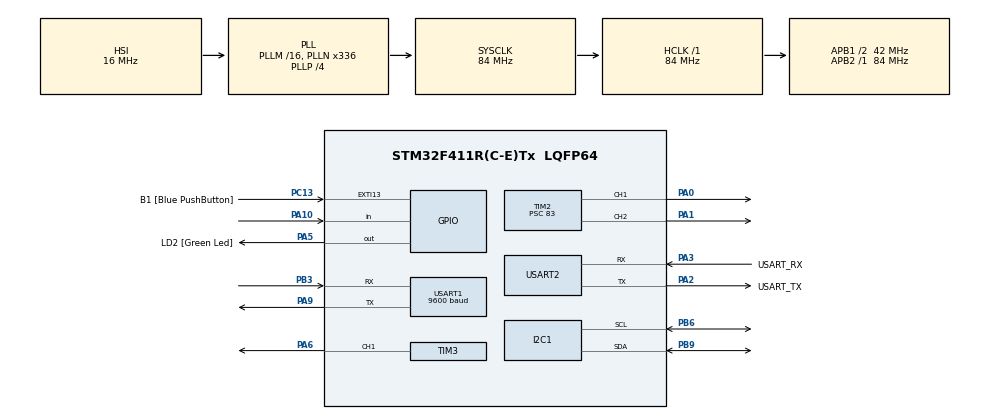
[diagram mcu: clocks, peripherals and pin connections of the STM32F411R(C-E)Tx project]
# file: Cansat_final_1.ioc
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FREERTOS.Tasks01=defaultTask,0,128,StartDefaultTask,Default,NULL,Dynamic,NULL,NULL
FREERTOS.configUSE_NEWLIB_REENTRANT=1
Mcu.Family=STM32F4
Mcu.Name=STM32F411R(C-E)Tx
Mcu.Package=LQFP64
NVIC.EXTI15_10_IRQn=true\:5\:0\:false\:false\:true\:true\:true\:true\:true
NVIC.I2C1_ER_IRQn=true\:5\:0\:false\:false\:true\:true\:true\:true\:true
NVIC.I2C1_EV_IRQn=true\:5\:0\:false\:false\:true\:true\:true\:true\:true
NVIC.PriorityGroup=NVIC_PRIORITYGROUP_4
NVIC.TIM1_UP_TIM10_IRQn=true\:15\:0\:false\:false\:true\:false\:false\:true\:true
NVIC.TimeBase=TIM1_UP_TIM10_IRQn
NVIC.TimeBaseIP=TIM1
NVIC.USART1_IRQn=true\:5\:0\:true\:false\:true\:true\:true\:true\:true
PA0-WKUP.Signal=S_TIM2_CH1_ETR
PA1.Signal=S_TIM2_CH2
PA10.Signal=GPIO_Input
PA13.GPIO_Label=TMS
PA13.Mode=Serial_Wire
PA13.Signal=SYS_JTMS-SWDIO
PA14.GPIO_Label=TCK
PA14.Mode=Serial_Wire
PA14.Signal=SYS_JTCK-SWCLK
PA2.GPIO_Label=USART_TX
PA2.Mode=Asynchronous
PA2.Signal=USART2_TX
PA3.GPIO_Label=USART_RX
PA3.Mode=Asynchronous
PA3.Signal=USART2_RX
PA5.GPIO_Label=LD2 [Green Led]
PA5.Signal=GPIO_Output
PA6.Signal=S_TIM3_CH1
PA9.Mode=Asynchronous
PA9.Signal=USART1_TX
PB3.Mode=Asynchronous
PB3.Signal=USART1_RX
PB6.Mode=I2C
PB6.Signal=I2C1_SCL
PB9.Mode=I2C
PB9.Signal=I2C1_SDA
PC13-ANTI_TAMP.GPIO_Label=B1 [Blue PushButton]
PC13-ANTI_TAMP.GPIO_ModeDefaultEXTI=GPIO_MODE_IT_FALLING
PC13-ANTI_TAMP.Signal=GPXTI13
PC14-OSC32_IN.Mode=LSE-External-Oscillator
PC14-OSC32_IN.Signal=RCC_OSC32_IN
PC15-OSC32_OUT.Mode=LSE-External-Oscillator
PC15-OSC32_OUT.Signal=RCC_OSC32_OUT
PH0\ -\ OSC_IN.Mode=HSE-External-Clock-Source
PH0\ -\ OSC_IN.Signal=RCC_OSC_IN
PH1\ -\ OSC_OUT.Mode=HSE-External-Clock-Source
PH1\ -\ OSC_OUT.Signal=RCC_OSC_OUT
ProjectManager.HeapSize=0x200
ProjectManager.StackSize=0x400
ProjectManager.TargetToolchain=STM32CubeIDE
RCC.48MHZClocksFreq_Value=84000000
RCC.AHBFreq_Value=84000000
RCC.APB1CLKDivider=RCC_HCLK_DIV2
RCC.APB1Freq_Value=42000000
RCC.APB1TimFreq_Value=84000000
RCC.APB2Freq_Value=84000000
RCC.APB2TimFreq_Value=84000000
RCC.CortexFreq_Value=84000000
RCC.FLatency-AdvancedSettings=FLASH_LATENCY_2
RCC.HCLKFreq_Value=84000000
RCC.HSE_VALUE=8000000
RCC.HSI_VALUE=16000000
RCC.PLLN=336
RCC.PLLP=RCC_PLLP_DIV4
RCC.SYSCLKFreq_VALUE=84000000
RCC.SYSCLKSource=RCC_SYSCLKSOURCE_PLLCLK
RCC.VCOOutputFreq_Value=336000000
SH.S_TIM2_CH1_ETR.0=TIM2_CH1,PWM Generation1 CH1
SH.S_TIM2_CH2.0=TIM2_CH2,PWM Generation2 CH2
SH.S_TIM3_CH1.0=TIM3_CH1,PWM Generation1 CH1
TIM2.Channel-PWM\ Generation1\ CH1=TIM_CHANNEL_1
TIM2.Channel-PWM\ Generation2\ CH2=TIM_CHANNEL_2
TIM2.Period=19999
TIM2.Prescaler=83
TIM3.Channel-PWM\ Generation1\ CH1=TIM_CHANNEL_1
TIM3.Period=19999
TIM3.Prescaler=83
USART1.BaudRate=9600
USART1.VirtualMode=VM_ASYNC
USART2.VirtualMode=VM_ASYNC
VP_FREERTOS_VS_CMSIS_V1.Mode=CMSIS_V1
VP_SYS_VS_tim1.Mode=TIM1
board=NUCLEO-F411RE

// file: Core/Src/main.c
/* USER CODE BEGIN Header */
/**
  ******************************************************************************
  * @file           : main.c
  * @brief          : Main program body
  ******************************************************************************
  * @attention
  *
  * Copyright (c) 2023 STMicroelectronics.
  * All rights reserved.
  *
  * This software is licensed under terms that can be found in the LICENSE file
  * in the root directory of this software component.
  * If no LICENSE file comes with this software, it is provided AS-IS.
  *
  ******************************************************************************
  */
/* USER CODE END Header */
#include "main.h"
#include "cmsis_os.h"
#include "i2c.h"
#include "tim.h"
#include "usart.h"
#include "gpio.h"

/* USER CODE BEGIN Includes */
#include "Const.h"
#include "stdio.h"
#include <math.h>
#include "IMU_10DOF.h"
#include "data.h"
#include "types.h"
#include "servo.h"
#include "gps.h"
#include "pololu_sds01a.h"
#include "Cansat_Task.h"
#include "stream_buffer.h"
#include "stream_buffer.h"
/* USER CODE END Includes */

/* USER CODE BEGIN PV */

/******* Data structure *******/

TypeDataCansat pDataCansat;

/******* StreamBuffer Handler ******/
extern StreamBufferHandle_t xGPS_StreamBuffer;

/******* Task Handler ********/
extern TaskHandle_t pxGPS_Handler;
extern TaskHandle_t pxDrop_detection;
extern TaskHandle_t pxLancement_Cansat;
extern TaskHandle_t pxMesure_M;
extern TaskHandle_t pxeCompass;
/****************************/

int Drop_flag = 0; // flag that indicates if the Cansat probe has been launch, in order to begin the missions

/******* GPS ********/
char uart_gps_rx[GPS_TRAME_SIZE];
char uart_pc_tx[GPS_TRAME_SIZE];
/********************/

/* USER CODE END PV */

void SystemClock_Config(void);
void MX_FREERTOS_Init(void);

/* USER CODE BEGIN 0 */

int __io_putchar(int ch) {
HAL_UART_Transmit(&huart2, (uint8_t *)&ch, 1, HAL_MAX_DELAY);
return ch;
}

void HAL_UART_RxCpltCallback(UART_HandleTypeDef *huart){ // fonction de callback de l'UART

	if(huart == &huart1){

		//HAL_UART_Receive_IT(&huart1, (uint8_t *)&uart_gps_rx, 80);

		//xStreamBufferSendFromISR( xGPS_StreamBuffer, &uart_gps_rx, 80, NULL);

		/* ( StreamBufferHandle_t xStreamBuffer,
										 const void *pvTxData,
										 size_t xDataLengthBytes,
										 BaseType_t * const pxHigherPriorityTaskWoken )
		*/

		//portYIELD_FROM_ISR();

	}

}

/* USER CODE END 0 */

int main(void)
{
  /* USER CODE BEGIN 1 */

	  /******************************************
	  *          création structure
	  ******************************************/
/*
	  TypeDataCansat *pDataCansat;
	  pDataCansat = DATA_getDataCansat();
*/
	  /***********************************************************
	  *            entrée des données GPS de la cible
	  ***********************************************************/

	  //Position GPS cible : 43°13'18.7"N 0°03'10.0"W  --> données telles que décrites dans le règlement 2023

	  pDataCansat.GPS.latitude_Target = 43.2218611;
	  pDataCansat.GPS.longitude_Target = -0.05277777777777778;

  /* USER CODE END 1 */

  /* MCU Configuration--------------------------------------------------------*/

  /* Reset of all peripherals, Initializes the Flash interface and the Systick. */
  HAL_Init();

  /* Configure the system clock */
  SystemClock_Config();

  /* Initialize all configured peripherals */
  MX_GPIO_Init();
  MX_USART2_UART_Init();
  MX_I2C1_Init();
  MX_TIM3_Init();
  MX_USART1_UART_Init();
  MX_TIM2_Init();
  /* USER CODE BEGIN 2 */

  printf("------------------------\r\n");
  printf("------------------------\r\n");
  printf("------------------------\r\n");
  printf("------------------------\r\n");
  printf("initialisation du CanSat\r\n");
  printf("------------------------\r\n");
  printf("------------------------\r\n");
  printf("------------------------\r\n");
  printf("------------------------\r\n");

    int x=0;
    int i=0;
    int Devices[100]={0};

   uint8_t pData[100] = {0};

   /**********                           *********
    * ******** INIT MPU-9250 (IMU_10DOF) *********
    * ********                           *********
    */

   printf("initialisation de l'IMU \r\n \r\n");

   // Initialisation du capteur MPU-9250

   Init(&hi2c1);

   // vérification identité capteur MPU-9250

   pData[0]= WHO_AM_I_MPU9250;
    if(HAL_I2C_Master_Transmit(&hi2c1, MPU_ADD, pData, 1, HAL_MAX_DELAY) != HAL_OK )
    {
  	  printf("il y a une erreur avec I2C Master Transmit \r\n");
    }
    if(HAL_I2C_Master_Receive(&hi2c1, MPU_ADD, pData, 1, HAL_MAX_DELAY) != HAL_OK )
    {
  	  printf("il y a une erreur avec I2C Master Receive \r\n");
    }

    printf(" L'identifiant du capteur est : %x \r\n", pData[0]);
    if((pData[0] =! 0x71))
    {
  	  printf("ce n'est pas le bon capteur \r\n");
    }
    else
  	  printf("MPU-9250 identified \r\n");

    // vérification identité AK8963C (magnétomètre)

    pData[0]= WHO_AM_I_AK8963;
      if(HAL_I2C_Master_Transmit(&hi2c1, MAGNETO_ADD, pData, 1, HAL_MAX_DELAY) != HAL_OK )
      {
    	  printf("il y a une erreur avec I2C Master Transmit \r\n");
      }
      if(HAL_I2C_Master_Receive(&hi2c1, MAGNETO_ADD, pData, 1, HAL_MAX_DELAY) != HAL_OK )
      {
    	  printf("il y a une erreur avec I2C Master Receive \r\n");
      }

      printf(" L'identifiant du magnétomètre est : %x \r\n", pData[0]);
      if((pData[0] =! 0x48))
      {
    	  printf("ce n'est pas le bon capteur \r\n  ****** \r\n ****** \r\n ****** \r\n");
      }
      else
    	  printf("AK8963C identified \r\n  ****** \r\n ****** \r\n ****** \r\n");

  // check les périphériques i2c disponibles

    for (i=0;i<256;i++){
         	  if(HAL_I2C_IsDeviceReady(&hi2c1, i, 4, 20)==HAL_OK){
         		  Devices[x]=i;
         		  printf("%d \r\n",Devices[x]);
         		  x=x+1;
         	  }

           }

    /*********** Calibration du magnétomètre *************/
 /*
    printf("debut de la calibration : faire des 8 \r\n");
    HAL_Delay(2000);
    printf("calibration du magnetometre en cours... \r\n");
    Calib_mag(&hi2c1, mag_offset, mag_coeff);
    printf("calibration du magnetometre terminee \r\n *\r\n *\r\n *\r\n");
    HAL_Delay(2000);
 */

    /**********                    *********
     * ******** INITIALISATION GPS *********
     * ********                    *********
     */

    /**********                              *********
     * ******** INITIALISATION Pololu_sds01a *********
     * ********                              *********
     */

    /**********                       *********
     * ******** INITIALISATION Servos *********
     * ********                       *********
     */

    HAL_TIM_PWM_Start(&htim2, TIM_CHANNEL_1);
    HAL_TIM_PWM_Start(&htim2, TIM_CHANNEL_2);

  //vTaskStartScheduler();
  /* USER CODE END 2 */

  /* Call init function for freertos objects (in freertos.c) */
  MX_FREERTOS_Init();

  /* Start scheduler */
  osKernelStart();

  /* We should never get here as control is now taken by the scheduler */
  /* Infinite loop */
  while (1)
  {

  }
}

void SystemClock_Config(void)
{
  RCC_OscInitTypeDef RCC_OscInitStruct = {0};
  RCC_ClkInitTypeDef RCC_ClkInitStruct = {0};

  /** Configure the main internal regulator output voltage
  */
  __HAL_RCC_PWR_CLK_ENABLE();
  __HAL_PWR_VOLTAGESCALING_CONFIG(PWR_REGULATOR_VOLTAGE_SCALE1);

  /** Initializes the RCC Oscillators according to the specified parameters
  * in the RCC_OscInitTypeDef structure.
  */
  RCC_OscInitStruct.OscillatorType = RCC_OSCILLATORTYPE_HSI;
  RCC_OscInitStruct.HSIState = RCC_HSI_ON;
  RCC_OscInitStruct.HSICalibrationValue = RCC_HSICALIBRATION_DEFAULT;
  RCC_OscInitStruct.PLL.PLLState = RCC_PLL_ON;
  RCC_OscInitStruct.PLL.PLLSource = RCC_PLLSOURCE_HSI;
  RCC_OscInitStruct.PLL.PLLM = 16;
  RCC_OscInitStruct.PLL.PLLN = 336;
  RCC_OscInitStruct.PLL.PLLP = RCC_PLLP_DIV4;
  RCC_OscInitStruct.PLL.PLLQ = 4;
  if (HAL_RCC_OscConfig(&RCC_OscInitStruct) != HAL_OK)
  {
    Error_Handler();
  }

  /** Initializes the CPU, AHB and APB buses clocks
  */
  RCC_ClkInitStruct.ClockType = RCC_CLOCKTYPE_HCLK|RCC_CLOCKTYPE_SYSCLK
                              |RCC_CLOCKTYPE_PCLK1|RCC_CLOCKTYPE_PCLK2;
  RCC_ClkInitStruct.SYSCLKSource = RCC_SYSCLKSOURCE_PLLCLK;
  RCC_ClkInitStruct.AHBCLKDivider = RCC_SYSCLK_DIV1;
  RCC_ClkInitStruct.APB1CLKDivider = RCC_HCLK_DIV2;
  RCC_ClkInitStruct.APB2CLKDivider = RCC_HCLK_DIV1;

  if (HAL_RCC_ClockConfig(&RCC_ClkInitStruct, FLASH_LATENCY_2) != HAL_OK)
  {
    Error_Handler();
  }
}

void HAL_TIM_PeriodElapsedCallback(TIM_HandleTypeDef *htim)
{
  if (htim->Instance == TIM1) {
    HAL_IncTick();
  }
}

void Error_Handler(void)
{
  __disable_irq();
  while (1)
  {
  }
}

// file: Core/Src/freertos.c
/* USER CODE BEGIN Header */
/**
  ******************************************************************************
  * File Name          : freertos.c
  * Description        : Code for freertos applications
  ******************************************************************************
  * @attention
  *
  * Copyright (c) 2023 STMicroelectronics.
  * All rights reserved.
  *
  * This software is licensed under terms that can be found in the LICENSE file
  * in the root directory of this software component.
  * If no LICENSE file comes with this software, it is provided AS-IS.
  *
  ******************************************************************************
  */
/* USER CODE END Header */

#include "FreeRTOS.h"
#include "task.h"
#include "main.h"
#include "cmsis_os.h"

/* USER CODE BEGIN Includes */
#include "Cansat_Task.h"
#include "pololu_sds01a.h"
#include "stream_buffer.h"
#include "Const.h"
/* USER CODE END Includes */

/* USER CODE BEGIN Variables */

/******* StreamBuffer Handler *******/

StreamBufferHandle_t xGPS_StreamBuffer = NULL;

/******* Task Handler ********/
TaskHandle_t pxGPS_Handler = NULL;
TaskHandle_t pxDrop_detection = NULL;
TaskHandle_t pxLancement_Cansat = NULL;
TaskHandle_t pxMesure_M = NULL;
TaskHandle_t pxeCompass = NULL;
TaskHandle_t pxGPS_Data = NULL;
/****************************/

/* USER CODE END Variables */
osThreadId defaultTaskHandle;

void StartDefaultTask(void const * argument);

void MX_FREERTOS_Init(void); /* (MISRA C 2004 rule 8.1) */

/* GetIdleTaskMemory prototype (linked to static allocation support) */
void vApplicationGetIdleTaskMemory( StaticTask_t **ppxIdleTaskTCBBuffer, StackType_t **ppxIdleTaskStackBuffer, uint32_t *pulIdleTaskStackSize );

/* USER CODE BEGIN GET_IDLE_TASK_MEMORY */
static StaticTask_t xIdleTaskTCBBuffer;
static StackType_t xIdleStack[configMINIMAL_STACK_SIZE];

void vApplicationGetIdleTaskMemory( StaticTask_t **ppxIdleTaskTCBBuffer, StackType_t **ppxIdleTaskStackBuffer, uint32_t *pulIdleTaskStackSize )
{
  *ppxIdleTaskTCBBuffer = &xIdleTaskTCBBuffer;
  *ppxIdleTaskStackBuffer = &xIdleStack[0];
  *pulIdleTaskStackSize = configMINIMAL_STACK_SIZE;
  /* place for user code */
}
/* USER CODE END GET_IDLE_TASK_MEMORY */

void MX_FREERTOS_Init(void) {

  /* USER CODE BEGIN StreamBuffer */

	xGPS_StreamBuffer = xStreamBufferCreate( /* The buffer length in bytes. */GPS_TRAME_SIZE,/* The stream buffer's trigger level. */GPS_TRAME_SIZE);
  /* USER CODE END StreamBuffer */

  /* Create the thread(s) */
  /* definition and creation of defaultTask */
  osThreadDef(defaultTask, StartDefaultTask, osPriorityNormal, 0, 128);
  defaultTaskHandle = osThreadCreate(osThread(defaultTask), NULL);

  /* USER CODE BEGIN RTOS_THREADS */

xTaskCreate(Task_Drop_detection, "Drop detection", 500, NULL, osPriorityHigh, &pxDrop_detection);

//Taches GPS
//xTaskCreate(Task_GPS_data_reading, "Lecture des donnees GPS", 500, NULL, osPriorityHigh, &pxGPS_Handler);
xTaskCreate(prvGPS_ReceivingTask, "recuperation donnees GPS", 500, NULL, osPriorityHigh, &pxGPS_Data);

  /* USER CODE END RTOS_THREADS */

}

void StartDefaultTask(void const * argument)
{
  for(;;)
  {
    osDelay(1);
  }
}
